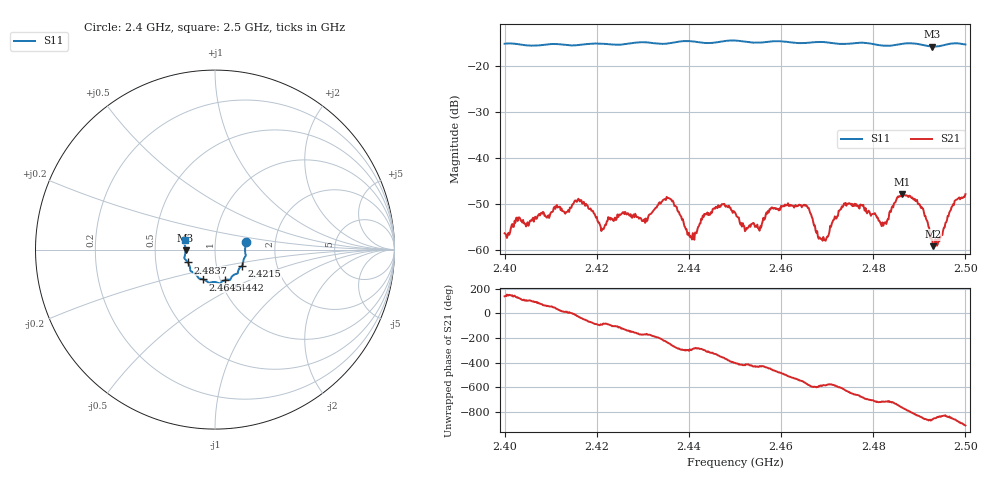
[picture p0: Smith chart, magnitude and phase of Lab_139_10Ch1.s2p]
# Hz S RI R 50
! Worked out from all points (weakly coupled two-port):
!   601 points, 2.4 GHz to 2.5 GHz, reference 50 ohm
!   highest |S21| = -47.75 dB at 2.4862 GHz (marker M1); lowest = -59.1 dB at 2.493 GHz (marker M2)
!   lowest |S11| = -15.7 dB at 2.4928 GHz (marker M3), VSWR 1.39, Z = 35.9 - j0.369 ohm
!   |S11| at or under -10 dB: start of sweep to end of sweep
!   S12 and S22 are empty: the file has one direction only
!   S11 on the Smith chart (normalised r, x): 2.4 GHz: 1.41, +0.12; 2.4215 GHz: 1.33, -0.25; 2.4442 GHz: 1.05, -0.37; 2.4645 GHz: 0.83, -0.29; 2.4837 GHz: 0.73, -0.11; 2.5 GHz: 0.71, +0.07
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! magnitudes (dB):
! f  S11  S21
! 2.4 GHz  -15.1  -56.3
! 2.4167 GHz  -15.3  -49.1
! 2.4215 GHz  -15.1  -55.4
! 2.4305 GHz  -14.8  -54.0
! 2.4333 GHz  -15.1  -50.2
! 2.4362 GHz  -14.9  -49.0
! 2.4407 GHz  -14.6  -57.7
! 2.4442 GHz  -15.0  -52.3
! 2.45 GHz  -14.4  -51.8
! 2.4552 GHz  -14.9  -55.4
! 2.458 GHz  -14.6  -50.7
! 2.4645 GHz  -15.0  -50.7
! 2.4667 GHz  -14.8  -52.7
! 2.4692 GHz  -14.7  -57.1
! 2.4742 GHz  -15.1  -50.3
! 2.4833 GHz  -15.6  -53.2
! 2.4837 GHz  -15.5  -51.4
! 2.4862 GHz  -15.1  -47.8
! 2.4905 GHz  -15.3  -50.6
! 2.4928 GHz  -15.7  -57.8
! 2.493 GHz  -15.7  -59.1
! 2.5 GHz  -15.3  -47.8
